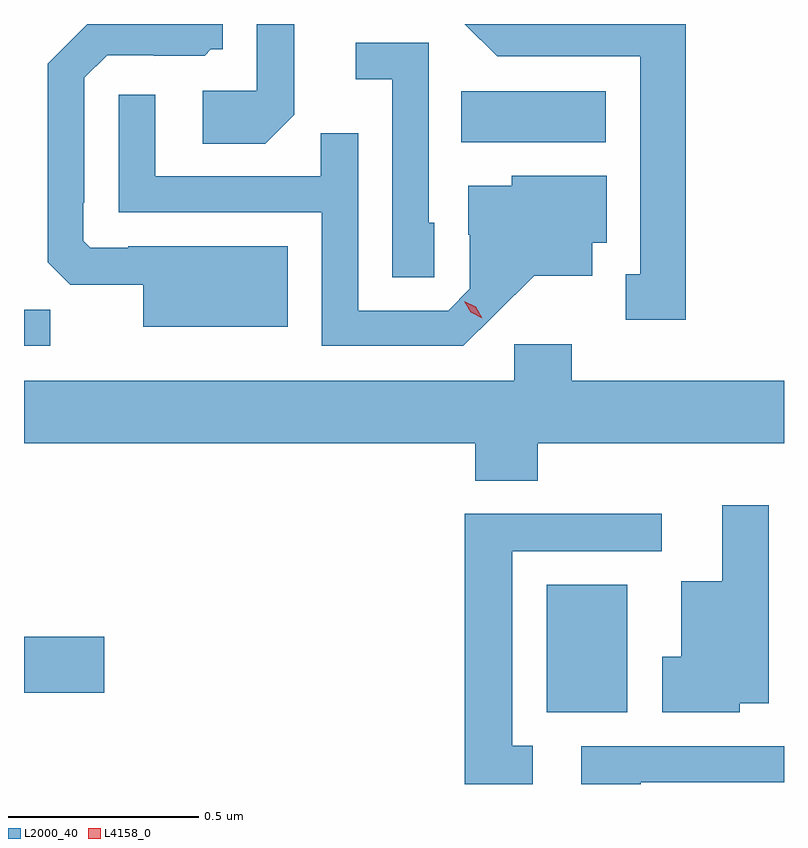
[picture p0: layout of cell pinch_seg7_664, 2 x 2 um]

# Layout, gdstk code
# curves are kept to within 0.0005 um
import gdstk
lib = gdstk.Library(unit=1e-6, precision=1e-09)
def R(c, l, rs):  # rectangles x0, y0, x1, y1
    for r in rs: c.add(gdstk.rectangle(r[:2], r[2:], *l))
def P(c, l, *ps):  # polygons
    for p in ps: c.add(gdstk.Polygon(p, *l))
L2000_40 = (2000, 40)
L4158_0 = (4158, 0)

pinch_seg7_664 = lib.new_cell('pinch_seg7_664')
R(pinch_seg7_664, L2000_40, [(138.704,1022.552,138.916,1022.887), (137.328,1022.603,137.539,1022.75), (137.328,1023.516,137.397,1023.611), (138.478,1024.052,138.859,1024.186)])
P(pinch_seg7_664, L2000_40, [(138.039,1024.124),(138.039,1024.363),(137.94,1024.363),(137.94,1024.188),(137.799,1024.188),(137.799,1024.048),(137.963,1024.048)],
  [(139.069,1024.363),(138.488,1024.363),(138.573,1024.278),(138.95,1024.278),(138.95,1023.705),(138.911,1023.705),(138.911,1023.585),(139.069,1023.585)],
  [(138.022,1023.778),(137.602,1023.778),(137.602,1023.774),(137.502,1023.774),(137.484,1023.792),(137.484,1023.892),(137.487,1023.892),(137.487,1024.221),(137.547,1024.281),(137.67,1024.281),(137.67,1024.28),(137.804,1024.28),(137.82,1024.296),(137.851,1024.296),(137.851,1024.363),(137.495,1024.363),(137.391,1024.258),(137.391,1023.736),(137.45,1023.677),(137.642,1023.677),(137.642,1023.566),(138.022,1023.566)],
  [(138.408,1023.84),(138.393,1023.84),(138.393,1024.314),(138.201,1024.314),(138.201,1024.217),(138.297,1024.217),(138.297,1023.697),(138.408,1023.697)],
  [(138.568,1023.599),(138.671,1023.701),(138.823,1023.701),(138.823,1023.788),(138.862,1023.788),(138.862,1023.964),(138.612,1023.964),(138.612,1023.937),(138.497,1023.937),(138.497,1023.808),(138.501,1023.808),(138.501,1023.666),(138.444,1023.609),(138.207,1023.609),(138.207,1024.076),(138.109,1024.076),(138.109,1023.963),(137.673,1023.963),(137.673,1024.177),(137.577,1024.177),(137.577,1023.867),(138.111,1023.867),(138.111,1023.516),(138.484,1023.516)],
  [(138.68,1023.26),(139.328,1023.26),(139.328,1023.424),(138.77,1023.424),(138.77,1023.52),(138.618,1023.52),(138.618,1023.424),(137.328,1023.424),(137.328,1023.26),(138.515,1023.26),(138.515,1023.161),(138.68,1023.161)],
  [(139.212,1022.576),(139.288,1022.576),(139.288,1023.097),(139.166,1023.097),(139.166,1022.896),(139.058,1022.896),(139.058,1022.698),(139.007,1022.698),(139.007,1022.552),(139.212,1022.552)],
  [(138.667,1022.464),(138.613,1022.464),(138.613,1022.976),(139.006,1022.976),(139.006,1023.074),(138.488,1023.074),(138.488,1022.363),(138.667,1022.363)],
  [(138.951,1022.367),(139.328,1022.367),(139.328,1022.463),(138.795,1022.463),(138.795,1022.363),(138.951,1022.363)])
P(pinch_seg7_664, L4158_0, [(138.534,1023.589),(138.503,1023.604),(138.486,1023.634),(138.486,1023.634),(138.486,1023.634),(138.517,1023.619),(138.534,1023.589),(138.534,1023.589)])

lib.write_gds('pinch_seg7_664.gds')
